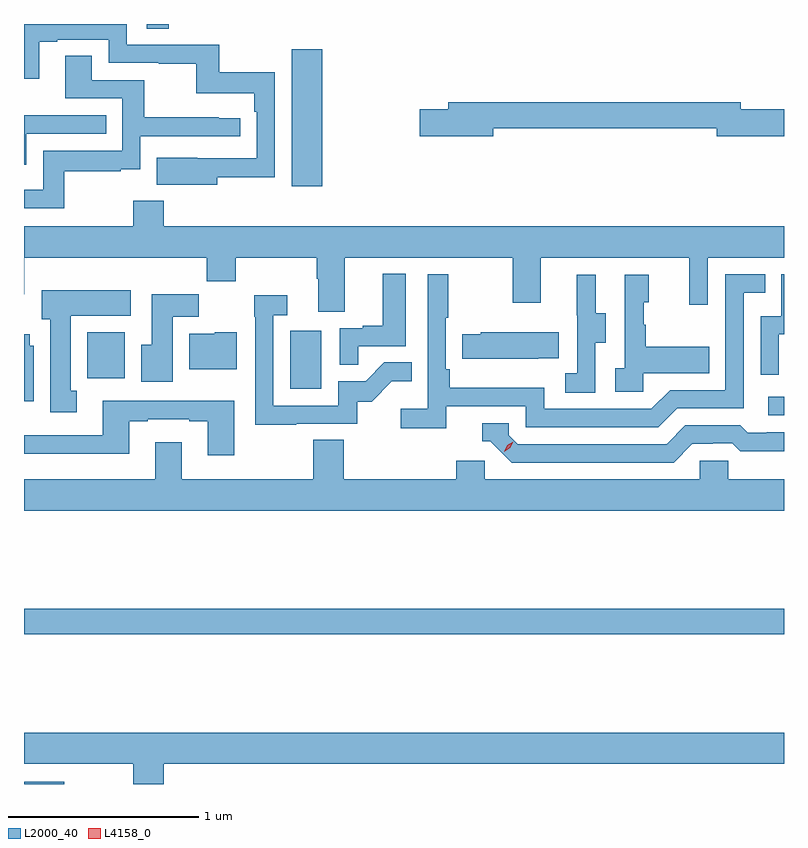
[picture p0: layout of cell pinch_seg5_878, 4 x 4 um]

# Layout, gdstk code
import gdstk
lib = gdstk.Library(unit=1e-6, precision=1e-09)
def R(c, l, rs):  # rectangles x0, y0, x1, y1
    for r in rs: c.add(gdstk.rectangle(r[:2], r[2:], *l))
def P(c, l, *ps):  # polygons
    for p in ps: c.add(gdstk.Polygon(p, *l))
L2000_40 = (2000, 40)
L4158_0 = (4158, 0)

pinch_seg5_878 = lib.new_cell('pinch_seg5_878')
R(pinch_seg5_878, L2000_40, [(866.549,875.301,866.761,875.313), (866.549,876.088,870.549,876.224), (870.465,877.242,870.549,877.338), (867.95,877.38,868.114,877.687), (866.882,877.436,867.079,877.678), (867.959,878.448,868.12,879.169), (867.195,879.277,867.311,879.301)])
P(pinch_seg5_878, L2000_40, [(867.565,878.494),(867.87,878.494),(867.87,879.046),(867.577,879.046),(867.577,879.192),(867.09,879.192),(867.09,879.301),(866.549,879.301),(866.549,879.014),(866.629,879.014),(866.629,879.207),(866.725,879.207),(866.725,879.219),(866.994,879.219),(866.994,879.096),(867.259,879.096),(867.259,879.091),(867.456,879.091),(867.456,878.936),(867.761,878.936),(867.761,878.84),(867.774,878.84),(867.774,878.595),(867.461,878.595),(867.461,878.596),(867.247,878.596),(867.247,878.456),(867.565,878.456)],
  [(866.761,878.526),(867.059,878.526),(867.059,878.537),(867.162,878.537),(867.162,878.709),(867.688,878.709),(867.688,878.805),(867.575,878.805),(867.575,878.81),(867.182,878.81),(867.182,879.006),(866.905,879.006),(866.905,879.134),(866.765,879.134),(866.765,878.91),(867.066,878.91),(867.066,878.634),(866.65,878.634),(866.65,878.428),(866.549,878.428),(866.549,878.331),(866.761,878.331)],
  [(869.02,878.752),(870.194,878.752),(870.194,878.71),(870.549,878.71),(870.549,878.852),(870.322,878.852),(870.322,878.888),(868.781,878.888),(868.781,878.852),(868.632,878.852),(868.632,878.71),(869.02,878.71)],
  [(866.562,878.724),(866.981,878.724),(866.981,878.82),(866.549,878.82),(866.549,878.561),(866.562,878.561)],
  [(867.124,878.371),(867.124,878.236),(866.549,878.236),(866.549,877.878),(866.551,877.878),(866.551,878.072),(867.511,878.072),(867.511,877.948),(867.663,877.948),(867.663,878.072),(868.09,878.072),(868.09,877.96),(868.097,877.96),(868.097,877.786),(868.237,877.786),(868.237,878.072),(869.122,878.072),(869.122,877.833),(869.269,877.833),(869.269,878.072),(870.05,878.072),(870.05,877.824),(870.147,877.824),(870.147,878.072),(870.549,878.072),(870.549,878.236),(867.284,878.236),(867.284,878.371)],
  [(868.307,877.605),(868.558,877.605),(868.558,877.987),(868.436,877.987),(868.436,877.714),(868.333,877.714),(868.333,877.701),(868.212,877.701),(868.212,877.507),(868.307,877.507)],
  [(868.772,877.29),(869.19,877.29),(869.19,877.179),(869.887,877.179),(869.986,877.278),(870.336,877.278),(870.336,877.887),(870.449,877.887),(870.449,877.983),(870.24,877.983),(870.24,877.374),(869.949,877.374),(869.85,877.275),(869.286,877.275),(869.286,877.387),(868.79,877.387),(868.79,877.483),(868.77,877.483),(868.77,877.756),(868.783,877.756),(868.783,877.984),(868.674,877.984),(868.674,877.276),(868.533,877.276),(868.533,877.174),(868.772,877.174)],
  [(870.522,877.667),(870.549,877.667),(870.549,877.983),(870.534,877.983),(870.534,877.764),(870.426,877.764),(870.426,877.455),(870.522,877.455)],
  [(869.808,877.463),(870.155,877.463),(870.155,877.603),(869.821,877.603),(869.821,877.718),(869.811,877.718),(869.811,877.836),(869.836,877.836),(869.836,877.981),(869.712,877.981),(869.712,877.49),(869.661,877.49),(869.661,877.365),(869.808,877.365)],
  [(869.556,877.624),(869.611,877.624),(869.611,877.779),(869.557,877.779),(869.557,877.981),(869.459,877.981),(869.459,877.767),(869.46,877.767),(869.46,877.463),(869.397,877.463),(869.397,877.36),(869.556,877.36)],
  [(866.827,877.37),(866.794,877.37),(866.794,877.766),(867.112,877.766),(867.112,877.9),(866.642,877.9),(866.642,877.746),(866.687,877.746),(866.687,877.257),(866.827,877.257)],
  [(867.331,877.76),(867.47,877.76),(867.47,877.879),(867.221,877.879),(867.221,877.612),(867.167,877.612),(867.167,877.419),(867.331,877.419)],
  [(867.983,877.197),(868.302,877.197),(868.302,877.314),(868.378,877.314),(868.485,877.421),(868.589,877.421),(868.589,877.52),(868.446,877.52),(868.348,877.422),(868.203,877.422),(868.203,877.293),(867.861,877.293),(867.861,877.767),(867.934,877.767),(867.934,877.873),(867.76,877.873),(867.76,877.76),(867.765,877.76),(867.765,877.192),(867.983,877.192)],
  [(869.255,877.541),(869.363,877.541),(869.363,877.678),(868.953,877.678),(868.953,877.668),(868.855,877.668),(868.855,877.538),(869.255,877.538)],
  [(867.67,877.678),(867.552,877.678),(867.552,877.672),(867.419,877.672),(867.419,877.484),(867.67,877.484)],
  [(866.599,877.608),(866.578,877.608),(866.578,877.669),(866.549,877.669),(866.549,877.316),(866.599,877.316)],
  [(867.655,877.318),(867.427,877.318),(867.427,877.317),(866.963,877.317),(866.963,877.137),(866.549,877.137),(866.549,877.04),(867.103,877.04),(867.103,877.209),(867.199,877.209),(867.199,877.221),(867.419,877.221),(867.419,877.209),(867.515,877.209),(867.515,877.032),(867.655,877.032)],
  [(870.067,877.092),(870.174,877.092),(870.174,877.095),(870.277,877.095),(870.319,877.053),(870.549,877.053),(870.549,877.152),(870.457,877.152),(870.457,877.149),(870.358,877.149),(870.319,877.188),(870.03,877.188),(869.931,877.089),(869.148,877.089),(869.1,877.137),(869.1,877.2),(868.961,877.2),(868.961,877.104),(869.004,877.104),(869.115,876.993),(869.968,876.993)],
  [(870.549,876.904),(870.255,876.904),(870.255,877.002),(870.105,877.002),(870.105,876.904),(868.974,876.904),(868.974,877.002),(868.823,877.002),(868.823,876.904),(868.232,876.904),(868.232,877.112),(868.072,877.112),(868.072,876.904),(867.379,876.904),(867.379,877.099),(867.239,877.099),(867.239,876.904),(866.549,876.904),(866.549,876.74),(870.549,876.74)],
  [(867.284,875.408),(870.549,875.408),(870.549,875.572),(866.549,875.572),(866.549,875.408),(867.124,875.408),(867.124,875.301),(867.284,875.301)])
P(pinch_seg5_878, L4158_0, [(869.077,877.051),(869.077,877.051),(869.093,877.084),(869.124,877.103),(869.124,877.103),(869.124,877.102),(869.108,877.07),(869.077,877.051)])

lib.write_gds('pinch_seg5_878.gds')
